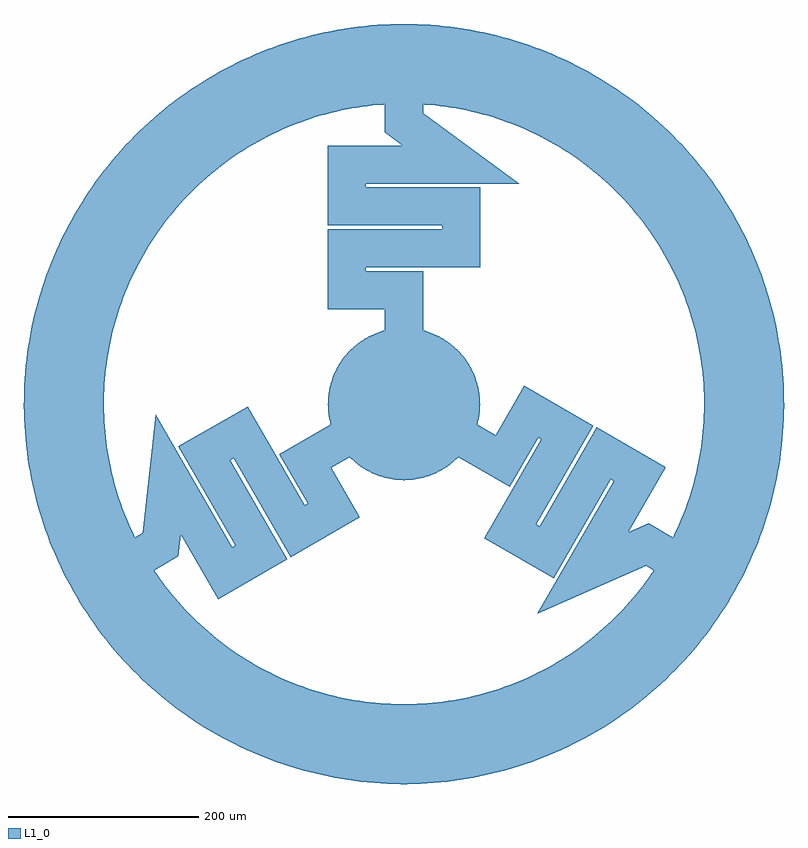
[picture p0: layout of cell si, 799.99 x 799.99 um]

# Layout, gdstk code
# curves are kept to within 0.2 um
import gdstk
lib = gdstk.Library(unit=1e-6, precision=1e-09)
def P(c, l, *ps):  # polygons
    for p in ps: c.add(gdstk.Polygon(p, *l))
L1_0 = (1, 0)

c_si = lib.new_cell('si')
P(c_si, L1_0, [(-0.7,-79.997),(-7.689,-79.63),(-15.993,-78.385),(-24.121,-76.277),(-30.696,-73.877),(-37.035,-70.911),(-44.264,-66.639),(-51.005,-61.632),(-57.184,-55.946),(-61.855,-50.735),(-66.832,-43.972),(-71.073,-36.724),(-74.531,-29.072),(-77.167,-21.1),(-78.716,-14.275),(-79.663,-7.34),(-79.993,1.05),(-79.595,8.037),(-78.314,16.336),(-76.171,24.455),(-73.188,32.304),(-69.398,39.798),(-65.655,45.711),(-60.502,52.341),(-55.696,57.428),(-49.369,62.95),(-43.679,67.024),(-37.654,70.585),(-30.048,74.143),(-22.111,76.884),(-13.93,78.778),(-6.992,79.694),(1.4,79.988),(9.777,79.4),(16.679,78.242),(24.788,76.063),(32.624,73.046),(40.101,69.224),(45.998,65.454),(52.605,60.272),(57.671,55.444),(63.165,49.093),(67.214,43.385),(71.391,36.101),(74.782,28.419),(76.98,21.774),(78.838,13.585),(79.724,6.643),(79.981,-1.75),(79.357,-10.124),(78.168,-17.021),(75.954,-25.121),(73.468,-31.663),(69.744,-39.189),(66.052,-45.134),(61.855,-50.735),(56.196,-56.939),(51.005,-61.632),(44.264,-66.639),(37.035,-70.911),(30.696,-73.877),(22.783,-76.687),(14.619,-78.653),(7.689,-79.63)],
  [(-3.5,-399.985),(-24.487,-399.25),(-45.407,-397.414),(-66.201,-394.484),(-86.813,-390.466),(-107.186,-385.372),(-127.263,-379.215),(-146.989,-372.014),(-159.919,-366.642),(-178.94,-357.744),(-197.469,-347.859),(-215.453,-337.017),(-227.115,-329.27),(-244.083,-316.897),(-255.024,-308.161),(-270.845,-294.352),(-285.92,-279.732),(-300.206,-264.341),(-309.274,-253.673),(-322.161,-237.092),(-334.159,-219.858),(-345.237,-202.018),(-355.364,-183.621),(-364.511,-164.717),(-370.052,-151.86),(-377.512,-132.23),(-383.931,-112.235),(-389.293,-91.931),(-393.581,-71.374),(-395.838,-57.556),(-398.313,-36.702),(-399.69,-15.748),(-399.966,5.25),(-399.537,19.245),(-398.619,33.215),(-396.326,54.09),(-392.941,74.815),(-388.473,95.334),(-382.935,115.59),(-378.655,128.921),(-373.911,142.094),(-365.938,161.521),(-356.957,180.504),(-346.992,198.989),(-336.071,216.925),(-324.223,234.264),(-311.482,250.957),(-297.882,266.958),(-288.357,277.219),(-278.478,287.141),(-263.025,301.36),(-246.846,314.749),(-245.222,316),(0,316),(-16.584,315.565),(-33.123,314.259),(-55.024,311.173),(-71.279,307.856),(-87.338,303.691),(-108.367,296.838),(-128.866,288.53),(-143.83,281.37),(-163.16,270.619),(-177.138,261.683),(-195.009,248.652),(-207.79,238.075),(-219.998,226.841),(-235.327,210.897),(-246.07,198.256),(-259.336,180.557),(-271.331,161.974),(-279.457,147.511),(-286.814,132.642),(-295.39,112.254),(-300.874,96.597),(-306.894,75.314),(-311.41,53.662),(-313.797,37.245),(-315.32,20.725),(-315.997,-1.383),(-315.489,-17.965),(-313.459,-39.989),(-310.929,-56.385),(-306.223,-77.997),(-301.708,-93.96),(-294.396,-114.835),(-287.964,-130.127),(-278.156,-149.951),(-269.903,-164.343),(-257.746,-182.82),(-247.796,-196.095),(-233.472,-212.948),(-218.004,-228.758),(-205.698,-239.884),(-192.825,-250.349),(-174.841,-263.224),(-160.786,-272.037),(-141.363,-282.617),(-126.336,-289.647),(-105.765,-297.775),(-84.677,-304.444),(-68.582,-308.468),(-46.837,-312.51),(-30.371,-314.537),(-13.822,-315.698),(8.295,-315.891),(30.371,-314.537),(46.837,-312.51),(63.173,-309.621),(84.677,-304.444),(105.765,-297.775),(121.247,-291.813),(136.395,-285.048),(156,-274.809),(174.841,-263.224),(188.414,-253.685),(201.469,-243.447),(218.004,-228.758),(229.709,-217.001),(240.781,-204.647),(247.796,-196.095),(257.746,-182.82),(263.986,-173.688),(272.738,-159.594),(280.737,-145.06),(287.964,-130.127),(294.396,-114.835),(298.234,-104.461),(301.708,-93.96),(306.223,-77.997),(309.894,-61.818),(312.712,-45.469),(314.667,-28.995),(315.489,-17.965),(315.997,-1.383),(315.852,9.677),(314.909,26.24),(313.098,42.731),(310.423,59.104),(306.894,75.314),(304.07,86.008),(299.137,101.848),(293.38,117.406),(286.814,132.642),(281.996,142.598),(274.124,157.201),(265.496,171.371),(259.336,180.557),(249.502,193.919),(238.981,206.746),(231.6,214.983),(219.998,226.841),(203.591,241.675),(186.187,255.324),(177.138,261.683),(163.16,270.619),(153.589,276.164),(138.884,283.844),(118.689,292.863),(108.367,296.838),(92.639,302.116),(71.279,307.856),(55.024,311.173),(38.617,313.631),(22.104,315.226),(5.53,315.952),(-245.222,316),(-229.988,327.27),(-218.394,335.118),(-206.532,342.556),(-188.269,352.923),(-175.803,359.296),(-156.704,368.027),(-143.728,373.286),(-123.94,380.314),(-110.554,384.419),(-90.227,389.691),(-76.534,392.61),(-55.823,396.086),(-41.927,397.797),(-20.993,399.449),(-7,399.939),(7,399.939),(20.993,399.449),(41.927,397.797),(62.747,395.048),(83.393,391.21),(103.809,386.295),(117.265,382.425),(137.173,375.744),(156.704,368.027),(175.803,359.296),(194.417,349.574),(212.495,338.889),(229.988,327.27),(246.846,314.749),(263.025,301.36),(273.41,291.971),(288.357,277.219),(297.882,266.958),(311.482,250.957),(324.223,234.264),(336.071,216.925),(346.992,198.989),(356.957,180.504),(363.056,167.901),(371.367,148.616),(378.655,128.921),(382.935,115.59),(388.473,95.334),(392.941,74.815),(396.326,54.09),(398.619,33.215),(399.537,19.245),(399.996,-1.75),(399.353,-22.74),(397.609,-43.668),(394.77,-64.475),(390.842,-85.104),(385.837,-105.499),(379.768,-125.603),(375.14,-138.816),(367.338,-158.313),(358.523,-177.373),(352.096,-189.812),(341.649,-208.029),(330.261,-225.672),(322.161,-237.092),(309.274,-253.673),(295.534,-269.554),(280.98,-284.693),(265.652,-299.047),(249.591,-312.577),(232.843,-325.245),(215.453,-337.017),(197.469,-347.859),(178.94,-357.744),(159.919,-366.642),(146.989,-372.014),(127.263,-379.215),(107.186,-385.372),(93.633,-388.887),(73.095,-393.265),(52.355,-396.559),(31.471,-398.76),(17.496,-399.617)])
c_si.add(gdstk.FlexPath([(0,0),(0,120),(-60,120),(-60,164),(60,164),(60,208),(-60,208),(-60,252),(60,252),(60,252),(0,296),(0,316)], 40, ends="flush", simple_path=True, layer=1, datatype=0))  # L1_0
c_si.add(gdstk.FlexPath([(0,0),(-103.923,-60),(-73.923,-111.962),(-112.028,-133.962),(-172.028,-30.038),(-210.133,-52.038),(-150.133,-155.962),(-188.238,-177.962),(-248.238,-74.038),(-248.238,-74.038),(-256.344,-148),(-273.664,-158)], 40, ends="flush", simple_path=True, layer=1, datatype=0))  # L1_0
c_si.add(gdstk.FlexPath([(0,0),(103.923,-60),(133.923,-8.038),(172.028,-30.038),(112.028,-133.962),(150.133,-155.962),(210.133,-52.038),(248.238,-74.038),(188.238,-177.962),(188.238,-177.962),(256.344,-148),(273.664,-158)], 40, ends="flush", simple_path=True, layer=1, datatype=0))  # L1_0

lib.write_gds('si.gds')
